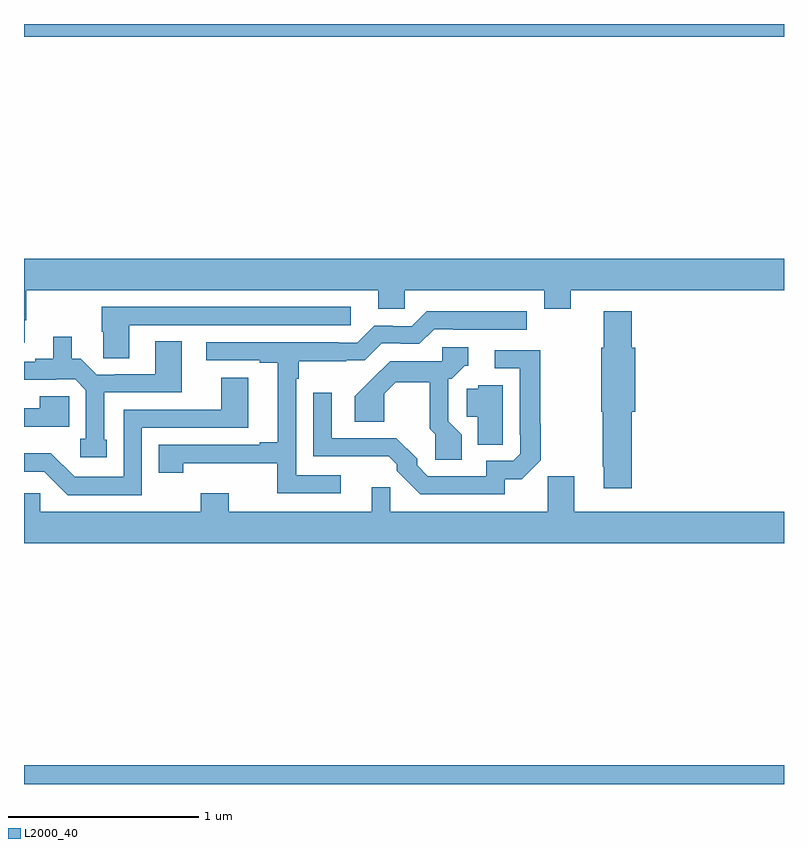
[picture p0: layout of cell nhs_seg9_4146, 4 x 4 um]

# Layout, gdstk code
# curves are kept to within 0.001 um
import gdstk
lib = gdstk.Library(unit=1e-6, precision=1e-09)
def R(c, l, rs):  # rectangles x0, y0, x1, y1
    for r in rs: c.add(gdstk.rectangle(r[:2], r[2:], *l))
def P(c, l, *ps):  # polygons
    for p in ps: c.add(gdstk.Polygon(p, *l))
L2000_40 = (2000, 40)

nhs_seg9_4146 = lib.new_cell('nhs_seg9_4146')
R(nhs_seg9_4146, L2000_40, [(349,1180.5,353,1180.6), (349,1184.432,353,1184.5)])
P(nhs_seg9_4146, L2000_40, [(349.003,1182.94),(349.011,1182.94),(349.011,1183.1),(350.864,1183.1),(350.864,1183.002),(351.003,1183.002),(351.003,1183.1),(351.737,1183.1),(351.737,1183.001),(351.877,1183.001),(351.877,1183.1),(353,1183.1),(353,1183.264),(349,1183.264),(349,1182.822),(349.003,1182.822)],
  [(349.555,1182.915),(350.719,1182.915),(350.719,1183.011),(349.408,1183.011),(349.408,1182.879),(349.417,1182.879),(349.417,1182.742),(349.555,1182.742)],
  [(352.199,1182.459),(352.217,1182.459),(352.217,1182.795),(352.199,1182.795),(352.199,1182.988),(352.052,1182.988),(352.052,1182.795),(352.039,1182.795),(352.039,1182.459),(352.045,1182.459),(352.045,1182.169),(352.052,1182.169),(352.052,1182.057),(352.199,1182.057)],
  [(350.668,1182.126),(350.433,1182.126),(350.433,1182.632),(350.446,1182.632),(350.446,1182.726),(350.696,1182.726),(350.696,1182.729),(350.793,1182.729),(350.883,1182.819),(350.984,1182.819),(350.984,1182.816),(351.081,1182.816),(351.159,1182.894),(351.259,1182.894),(351.259,1182.891),(351.646,1182.891),(351.646,1182.987),(351.121,1182.988),(351.042,1182.909),(350.942,1182.909),(350.942,1182.912),(350.844,1182.912),(350.754,1182.822),(350.654,1182.822),(350.654,1182.825),(349.959,1182.825),(349.959,1182.729),(350.24,1182.729),(350.24,1182.717),(350.336,1182.717),(350.336,1182.298),(350.24,1182.298),(350.24,1182.285),(349.71,1182.285),(349.71,1182.138),(349.838,1182.138),(349.838,1182.188),(350.332,1182.188),(350.332,1182.03),(350.668,1182.03)],
  [(349.435,1182.312),(349.422,1182.312),(349.422,1182.561),(349.831,1182.561),(349.831,1182.83),(349.691,1182.83),(349.691,1182.657),(349.477,1182.657),(349.477,1182.654),(349.383,1182.654),(349.299,1182.738),(349.252,1182.738),(349.252,1182.853),(349.154,1182.853),(349.154,1182.738),(349.058,1182.738),(349.058,1182.723),(349,1182.723),(349,1182.627),(349.169,1182.627),(349.169,1182.63),(349.269,1182.63),(349.326,1182.573),(349.326,1182.318),(349.296,1182.318),(349.296,1182.219),(349.435,1182.219)],
  [(351.304,1182.338),(351.234,1182.408),(351.234,1182.633),(351.252,1182.633),(351.321,1182.702),(351.337,1182.702),(351.337,1182.798),(351.201,1182.798),(351.201,1182.726),(350.927,1182.726),(350.83,1182.629),(350.829,1182.63),(350.742,1182.542),(350.742,1182.406),(350.896,1182.406),(350.896,1182.554),(350.957,1182.615),(351.136,1182.615),(351.136,1182.37),(351.165,1182.341),(351.165,1182.207),(351.304,1182.207)],
  [(351.531,1182.105),(351.62,1182.105),(351.72,1182.204),(351.72,1182.395),(351.718,1182.395),(351.718,1182.783),(351.477,1182.783),(351.477,1182.687),(351.609,1182.687),(351.609,1182.337),(351.612,1182.337),(351.612,1182.237),(351.576,1182.201),(351.432,1182.201),(351.432,1182.12),(351.126,1182.12),(351.069,1182.177),(351.069,1182.211),(350.959,1182.321),(350.619,1182.321),(350.619,1182.559),(350.523,1182.559),(350.523,1182.225),(350.92,1182.224),(350.961,1182.184),(350.961,1182.149),(351.086,1182.024),(351.531,1182.024)],
  [(349.62,1182.375),(350.179,1182.375),(350.179,1182.637),(350.039,1182.637),(350.039,1182.471),(349.524,1182.471),(349.524,1182.117),(349.266,1182.117),(349.142,1182.241),(349,1182.241),(349,1182.144),(349.107,1182.144),(349.23,1182.021),(349.62,1182.021)],
  [(351.519,1182.598),(351.39,1182.598),(351.39,1182.579),(351.33,1182.579),(351.33,1182.434),(351.389,1182.434),(351.389,1182.286),(351.519,1182.286)],
  [(349.127,1182.381),(349.237,1182.381),(349.237,1182.542),(349.084,1182.542),(349.084,1182.477),(349,1182.477),(349,1182.38),(349.127,1182.38)],
  [(353,1181.932),(351.895,1181.932),(351.895,1182.12),(351.757,1182.12),(351.757,1181.932),(350.927,1181.932),(350.927,1182.062),(350.831,1182.062),(350.831,1181.932),(350.077,1181.932),(350.077,1182.031),(349.93,1182.031),(349.93,1181.932),(349.086,1181.932),(349.086,1182.03),(349,1182.03),(349,1181.768),(353,1181.768)])

lib.write_gds('nhs_seg9_4146.gds')
